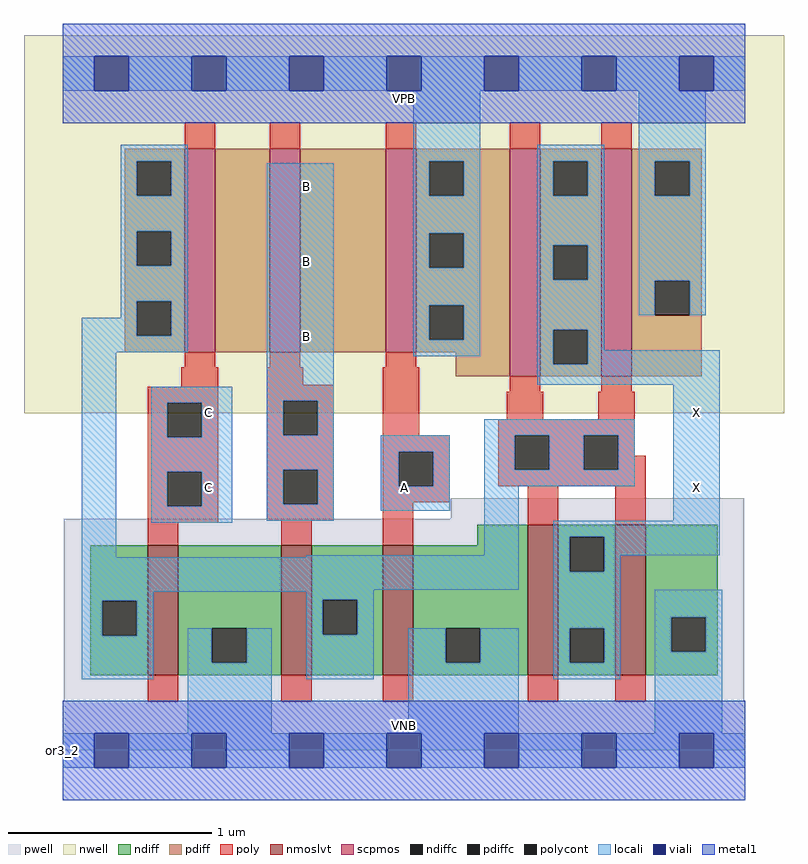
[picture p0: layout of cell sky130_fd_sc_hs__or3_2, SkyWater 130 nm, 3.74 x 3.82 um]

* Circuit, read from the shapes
.subckt sky130_fd_sc_hs__or3_2 A B C VGND VNB VPB VPWR X
XM1 VGND C n1 VNB sky130_fd_pr__nfet_01v8_lvt w=0.64 l=0.15
XM2 n1 B VGND VNB sky130_fd_pr__nfet_01v8_lvt w=0.64 l=0.15
XM3 VGND A n1 VNB sky130_fd_pr__nfet_01v8_lvt w=0.64 l=0.15
XM4 X n1 VGND VNB sky130_fd_pr__nfet_01v8_lvt w=0.74 l=0.15 m=2
XM5 n2 C n1 VPB sky130_fd_pr__pfet_01v8 w=1 l=0.15
XM6 n3 B n2 VPB sky130_fd_pr__pfet_01v8 w=1 l=0.15
XM7 VPWR A n3 VPB sky130_fd_pr__pfet_01v8 w=1 l=0.15
XM8 X n1 VPWR VPB sky130_fd_pr__pfet_01v8 w=1.12 l=0.15 m=2
.ends

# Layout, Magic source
magic
tech sky130A
magscale 1 2
<< nwell >>
rect -38 332 710 704
<< pwell >>
rect 382 228 671 248
rect 1 49 671 228
rect 0 0 672 49
<< scpmos >>
rect 120 392 150 592
rect 204 392 234 592
rect 318 392 348 592
rect 440 368 470 592
rect 530 368 560 592
<< nmoslvt >>
rect 84 74 114 202
rect 215 74 245 202
rect 315 74 345 202
rect 458 74 488 222
rect 544 74 574 222
<< ndiff >>
rect 408 202 458 222
rect 27 147 84 202
rect 27 113 39 147
rect 73 113 84 147
rect 27 74 84 113
rect 114 120 215 202
rect 114 86 147 120
rect 181 86 215 120
rect 114 74 215 86
rect 245 148 315 202
rect 245 114 256 148
rect 290 114 315 148
rect 245 74 315 114
rect 345 120 458 202
rect 345 86 377 120
rect 411 86 458 120
rect 345 74 458 86
rect 488 210 544 222
rect 488 176 499 210
rect 533 176 544 210
rect 488 120 544 176
rect 488 86 499 120
rect 533 86 544 120
rect 488 74 544 86
rect 574 131 645 222
rect 574 97 599 131
rect 633 97 645 131
rect 574 74 645 97
<< pdiff >>
rect 61 580 120 592
rect 61 546 73 580
rect 107 546 120 580
rect 61 511 120 546
rect 61 477 73 511
rect 107 477 120 511
rect 61 442 120 477
rect 61 408 73 442
rect 107 408 120 442
rect 61 392 120 408
rect 150 392 204 592
rect 234 392 318 592
rect 348 580 440 592
rect 348 546 361 580
rect 395 546 440 580
rect 348 509 440 546
rect 348 475 361 509
rect 395 475 440 509
rect 348 438 440 475
rect 348 404 361 438
rect 395 404 440 438
rect 348 392 440 404
rect 387 368 440 392
rect 470 580 530 592
rect 470 546 483 580
rect 517 546 530 580
rect 470 497 530 546
rect 470 463 483 497
rect 517 463 530 497
rect 470 414 530 463
rect 470 380 483 414
rect 517 380 530 414
rect 470 368 530 380
rect 560 580 629 592
rect 560 546 583 580
rect 617 546 629 580
rect 560 462 629 546
rect 560 428 583 462
rect 617 428 629 462
rect 560 368 629 428
<< ndiffc >>
rect 39 113 73 147
rect 147 86 181 120
rect 256 114 290 148
rect 377 86 411 120
rect 499 176 533 210
rect 499 86 533 120
rect 599 97 633 131
<< pdiffc >>
rect 73 546 107 580
rect 73 477 107 511
rect 73 408 107 442
rect 361 546 395 580
rect 361 475 395 509
rect 361 404 395 438
rect 483 546 517 580
rect 483 463 517 497
rect 483 380 517 414
rect 583 546 617 580
rect 583 428 617 462
<< poly >>
rect 120 592 150 618
rect 204 592 234 618
rect 318 592 348 618
rect 440 592 470 618
rect 530 592 560 618
rect 120 377 150 392
rect 204 377 234 392
rect 318 377 348 392
rect 117 358 153 377
rect 84 342 153 358
rect 84 308 103 342
rect 137 308 153 342
rect 84 274 153 308
rect 84 240 103 274
rect 137 240 153 274
rect 84 224 153 240
rect 201 360 237 377
rect 201 344 267 360
rect 201 310 217 344
rect 251 310 267 344
rect 201 276 267 310
rect 201 242 217 276
rect 251 242 267 276
rect 201 226 267 242
rect 315 310 351 377
rect 440 353 470 368
rect 530 353 560 368
rect 437 326 473 353
rect 527 326 563 353
rect 429 310 563 326
rect 315 294 381 310
rect 315 260 331 294
rect 365 260 381 294
rect 429 276 445 310
rect 479 276 513 310
rect 547 290 563 310
rect 547 276 574 290
rect 429 260 574 276
rect 315 244 381 260
rect 84 202 114 224
rect 215 202 245 226
rect 315 202 345 244
rect 458 222 488 260
rect 544 222 574 260
rect 84 48 114 74
rect 215 48 245 74
rect 315 48 345 74
rect 458 48 488 74
rect 544 48 574 74
<< polycont >>
rect 103 308 137 342
rect 103 240 137 274
rect 217 310 251 344
rect 217 242 251 276
rect 331 260 365 294
rect 445 276 479 310
rect 513 276 547 310
<< locali >>
rect 0 649 31 683
rect 65 649 127 683
rect 161 649 223 683
rect 257 649 319 683
rect 353 649 415 683
rect 449 649 511 683
rect 545 649 607 683
rect 641 649 672 683
rect 57 580 123 596
rect 57 546 73 580
rect 107 546 123 580
rect 345 580 411 649
rect 57 511 123 546
rect 57 477 73 511
rect 107 477 123 511
rect 57 442 123 477
rect 57 426 73 442
rect 19 408 73 426
rect 107 408 123 442
rect 19 392 123 408
rect 19 190 53 392
rect 87 342 167 358
rect 87 308 103 342
rect 137 308 167 342
rect 87 274 167 308
rect 87 240 103 274
rect 137 240 167 274
rect 87 224 167 240
rect 201 344 267 578
rect 345 546 361 580
rect 395 546 411 580
rect 345 509 411 546
rect 345 475 361 509
rect 395 475 411 509
rect 345 438 411 475
rect 345 404 361 438
rect 395 404 411 438
rect 345 388 411 404
rect 467 580 533 596
rect 467 546 483 580
rect 517 546 533 580
rect 467 497 533 546
rect 467 463 483 497
rect 517 463 533 497
rect 467 414 533 463
rect 567 580 633 649
rect 567 546 583 580
rect 617 546 633 580
rect 567 462 633 546
rect 567 428 583 462
rect 617 428 633 462
rect 467 380 483 414
rect 517 394 533 414
rect 517 380 647 394
rect 467 360 647 380
rect 201 310 217 344
rect 251 310 267 344
rect 415 310 563 326
rect 201 276 267 310
rect 201 242 217 276
rect 251 242 267 276
rect 201 226 267 242
rect 313 294 381 310
rect 313 260 331 294
rect 365 260 381 294
rect 313 236 381 260
rect 415 276 445 310
rect 479 276 513 310
rect 547 276 563 310
rect 415 260 563 276
rect 415 192 449 260
rect 601 226 647 360
rect 240 190 449 192
rect 19 158 449 190
rect 483 210 647 226
rect 483 176 499 210
rect 533 192 647 210
rect 533 176 549 192
rect 19 156 306 158
rect 19 147 89 156
rect 19 113 39 147
rect 73 113 89 147
rect 240 148 306 156
rect 19 70 89 113
rect 123 86 147 120
rect 181 86 206 120
rect 123 17 206 86
rect 240 114 256 148
rect 290 114 306 148
rect 483 120 549 176
rect 240 70 306 114
rect 340 86 377 120
rect 411 86 449 120
rect 340 17 449 86
rect 483 86 499 120
rect 533 86 549 120
rect 483 70 549 86
rect 583 131 649 158
rect 583 97 599 131
rect 633 97 649 131
rect 583 17 649 97
rect 0 -17 31 17
rect 65 -17 127 17
rect 161 -17 223 17
rect 257 -17 319 17
rect 353 -17 415 17
rect 449 -17 511 17
rect 545 -17 607 17
rect 641 -17 672 17
<< viali >>
rect 31 649 65 683
rect 127 649 161 683
rect 223 649 257 683
rect 319 649 353 683
rect 415 649 449 683
rect 511 649 545 683
rect 607 649 641 683
rect 31 -17 65 17
rect 127 -17 161 17
rect 223 -17 257 17
rect 319 -17 353 17
rect 415 -17 449 17
rect 511 -17 545 17
rect 607 -17 641 17
<< metal1 >>
rect 0 683 672 715
rect 0 649 31 683
rect 65 649 127 683
rect 161 649 223 683
rect 257 649 319 683
rect 353 649 415 683
rect 449 649 511 683
rect 545 649 607 683
rect 641 649 672 683
rect 0 617 672 649
rect 0 17 672 49
rect 0 -17 31 17
rect 65 -17 127 17
rect 161 -17 223 17
rect 257 -17 319 17
rect 353 -17 415 17
rect 449 -17 511 17
rect 545 -17 607 17
rect 641 -17 672 17
rect 0 -49 672 -17
<< labels >>
rlabel comment s 0 0 0 0 4 or3_2
flabel pwell s 0 0 672 49 0 FreeSans 200 0 0 0 VNB
port 5 nsew ground bidirectional
flabel nwell s 0 617 672 666 0 FreeSans 200 0 0 0 VPB
port 6 nsew power bidirectional
flabel metal1 s 0 617 672 666 0 FreeSans 340 0 0 0 VPWR
port 7 nsew power bidirectional
flabel metal1 s 0 0 672 49 0 FreeSans 340 0 0 0 VGND
port 4 nsew ground bidirectional
flabel locali s 607 242 641 276 0 FreeSans 340 0 0 0 X
port 8 nsew signal output
flabel locali s 607 316 641 350 0 FreeSans 340 0 0 0 X
port 8 nsew signal output
flabel locali s 127 242 161 276 0 FreeSans 340 0 0 0 C
port 3 nsew signal input
flabel locali s 127 316 161 350 0 FreeSans 340 0 0 0 C
port 3 nsew signal input
flabel locali s 319 242 353 276 0 FreeSans 340 0 0 0 A
port 1 nsew signal input
flabel locali s 223 390 257 424 0 FreeSans 340 0 0 0 B
port 2 nsew signal input
flabel locali s 223 464 257 498 0 FreeSans 340 0 0 0 B
port 2 nsew signal input
flabel locali s 223 538 257 572 0 FreeSans 340 0 0 0 B
port 2 nsew signal input
<< properties >>
string LEFsite unit
string LEFclass CORE
string FIXED_BBOX 0 0 672 666
string GDS_FILE $PDKPATH/libs.ref/sky130_fd_sc_hs/gds/sky130_fd_sc_hs.gds
string LEFsymmetry X Y
string GDS_END 2089696
string GDS_START 2083204
<< end >>
